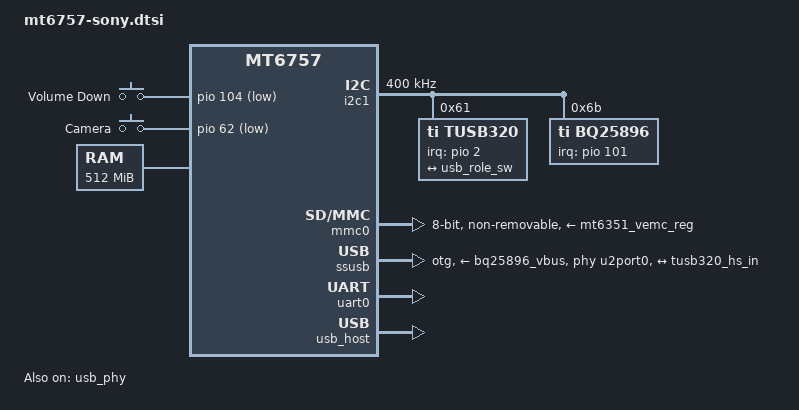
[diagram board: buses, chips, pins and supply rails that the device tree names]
// SPDX-License-Identifier: GPL-2.0-only
/*
 * Copyright (c) 2025 Ben Grisdale <bengris32@protonmail.ch>
 */

#include <dt-bindings/gpio/gpio.h>
#include "mt6757.dtsi"
#include "mt6351.dtsi"

/ {
	aliases {
		serial0 = &uart0;
	};

	chosen {
		stdout-path = "serial0:115200n8";
	};

	gpio-keys {
		compatible = "gpio-keys";
		pinctrl-names = "default";
		pinctrl-0 = <&gpio_keys_pins_default>;

		button-volume-down {
			label = "Volume Down";
			linux,code = <KEY_VOLUMEDOWN>;
			gpios = <&pio 104 GPIO_ACTIVE_LOW>;
			wakeup-source;
			debounce-interval = <100>;
		};

		button-camera {
			label = "Camera";
			linux,code = <KEY_CAMERA>;
			gpios = <&pio 62 GPIO_ACTIVE_LOW>;
			wakeup-source;
			debounce-interval = <100>;
		};
	};

	memory@40000000 {
		device_type = "memory";
		reg = <0 0x40000000 0 0x20000000>;
	};

	reserved_memory: reserved-memory {
		#address-cells = <2>;
		#size-cells = <2>;
		ranges;

		/* Reserve memory for ATF + its ramdump region */
		atf-reserved-memory@50e00000 {
			reg = <0 0x50e00000 0 0x14000>;
			no-map;
		};

		atf-ramdump-memory@50e14000 {
			reg = <0 0x50e14000 0 0x2c000>;
			no-map;
		};

		/* Use the same ramoops region as downstream */
		ramoops@44410000 {
			compatible = "ramoops";
			reg = <0x0 0x44410000 0x0 0xe0000>;
			console-size = <0x10000>;
			record-size = <0x10000>;
		};
	};
};

&i2c1 {
	status = "okay";
	pinctrl-names = "default";
	pinctrl-0 = <&i2c1_pins_default>;
	clock-frequency = <400000>;

	tusb320: typec@61 {
		compatible = "ti,tusb320";
		reg = <0x61>;
		interrupt-parent = <&pio>;
		interrupts = <2 IRQ_TYPE_LEVEL_LOW>;

		connector {
			compatible = "usb-c-connector";
			label = "USB-C";
			data-role = "dual";
			power-role = "dual";
			typec-power-opmode = "default";
			pd-disable;

			port {
				tusb320_hs_in: endpoint {
					remote-endpoint = <&usb_role_sw>;
				};
			};
		};
	};

	bq25896: charger@6b {
		compatible = "ti,bq25896";
		reg = <0x6b>;
		interrupt-parent = <&pio>;
		interrupts = <101 IRQ_TYPE_LEVEL_LOW>;
		ti,battery-regulation-voltage = <4352000>;
		ti,charge-current = <2048000>;
		ti,termination-current = <128000>;
		ti,precharge-current = <128000>;
		ti,minimum-sys-voltage = <3500000>;
		ti,boost-voltage = <4998000>;
		ti,boost-max-current = <1400000>;
		ti,use-ilim-pin;
		ti,thermal-regulation-threshold = <120>;

		bq25896_vbus: usb-otg-vbus { };
		bq25896_vsys: vsys { };
	};
};

&mmc0 {
	/* eMMC controller */
	bus-width = <8>;
	max-frequency = <200000000>;
	cap-mmc-highspeed;
	hs400-ds-delay = <0x14041>;
	mmc-hs200-1_8v;
	mmc-hs400-1_8v;
	no-sd;
	no-sdio;
	non-removable;
	pinctrl-names = "default", "state_uhs";
	pinctrl-0 = <&mmc0_pins_default>;
	pinctrl-1 = <&mmc0_pins_uhs>;
	vmmc-supply = <&mt6351_vemc_reg>;
	assigned-clocks = <&topckgen CLK_TOP_MSDC50_0_SEL>;
	assigned-clock-parents = <&topckgen CLK_TOP_MSDCPLL_D2>;
	status = "okay";
};

&mt6351_pmic {
	interrupts-extended = <&pio 150 IRQ_TYPE_LEVEL_HIGH>;
};

&ssusb {
	status = "okay";
	dr_mode = "otg";
	usb-role-switch;
	role-switch-default-mode = "host";
	maximum-speed = "high-speed";
	phys = <&u2port0 PHY_TYPE_USB2>;
	mediatek,u3p-dis-msk = <1>;
	vusb33-supply = <&mt6351_vusb33_reg>;
	vbus-supply = <&bq25896_vbus>;

	port {
		usb_role_sw: endpoint {
			remote-endpoint = <&tusb320_hs_in>;
		};
	};
};

&uart0 {
	pinctrl-names = "default";
	pinctrl-0 = <&uart0_pins_default>;
	status = "okay";
};

&usb_host {
	status = "okay";
	vusb33-supply = <&mt6351_vusb33_reg>;
};

&usb_phy {
	status = "okay";
};

&u2port0 {
	mediatek,eye-vrt = <3>;
	mediatek,eye-term = <1>;
	mediatek,eye-src = <1>;
	mediatek,pre-emphasis = <1>;
	mediatek,discth = <15>;
};

&pio {
	i2c1_pins_default: i2c1-pins {
		pins-bus {
			pinmux = <PINMUX_GPIO91__FUNC_SDA1>,
				 <PINMUX_GPIO94__FUNC_SCL1>;
			bias-disable;
		};
	};

	gpio_keys_pins_default: gpio-keys-pins {
		pins-keys {
			pinmux = <PINMUX_GPIO104__FUNC_KPCOL1>,
				     <PINMUX_GPIO62__FUNC_GPIO62>;
			input-enable;
		};
	};

	mmc0_pins_default: mmc0-pins-sdr {
		pins-dat {
			pinmux = <PINMUX_GPIO178__FUNC_MSDC0_DAT0>,
				 <PINMUX_GPIO181__FUNC_MSDC0_DAT1>,
				 <PINMUX_GPIO186__FUNC_MSDC0_DAT2>,
				 <PINMUX_GPIO187__FUNC_MSDC0_DAT3>,
				 <PINMUX_GPIO184__FUNC_MSDC0_DAT4>,
				 <PINMUX_GPIO182__FUNC_MSDC0_DAT5>,
				 <PINMUX_GPIO183__FUNC_MSDC0_DAT6>,
				 <PINMUX_GPIO188__FUNC_MSDC0_DAT7>,
				 <PINMUX_GPIO180__FUNC_MSDC0_CMD>;
			input-enable;
			bias-pull-up = <MTK_PUPD_SET_R1R0_01>;
		};

		pins-clk {
			pinmux = <PINMUX_GPIO179__FUNC_MSDC0_CLK>;
			bias-pull-down = <MTK_PUPD_SET_R1R0_10>;
		};

		pins-rst {
			pinmux = <PINMUX_GPIO185__FUNC_MSDC0_RSTB>;
			bias-pull-up = <MTK_PUPD_SET_R1R0_10>;
		};
	};

	mmc0_pins_uhs: mmc0-pins-uhs {
		pins-dat {
			pinmux = <PINMUX_GPIO178__FUNC_MSDC0_DAT0>,
				 <PINMUX_GPIO181__FUNC_MSDC0_DAT1>,
				 <PINMUX_GPIO186__FUNC_MSDC0_DAT2>,
				 <PINMUX_GPIO187__FUNC_MSDC0_DAT3>,
				 <PINMUX_GPIO184__FUNC_MSDC0_DAT4>,
				 <PINMUX_GPIO182__FUNC_MSDC0_DAT5>,
				 <PINMUX_GPIO183__FUNC_MSDC0_DAT6>,
				 <PINMUX_GPIO188__FUNC_MSDC0_DAT7>,
				 <PINMUX_GPIO180__FUNC_MSDC0_CMD>;
			input-enable;
			drive-strength = <8>;
			bias-pull-up = <MTK_PUPD_SET_R1R0_01>;
		};

		pins-clk {
			pinmux = <PINMUX_GPIO179__FUNC_MSDC0_CLK>;
			drive-strength = <8>;
			bias-pull-down = <MTK_PUPD_SET_R1R0_10>;
		};

		pins-rst {
			pinmux = <PINMUX_GPIO185__FUNC_MSDC0_RSTB>;
			drive-strength = <8>;
			bias-pull-up = <MTK_PUPD_SET_R1R0_10>;
		};

		pins-ds {
			pinmux = <PINMUX_GPIO189__FUNC_MSDC0_DSL>;
			drive-strength = <4>;
			bias-pull-down = <MTK_PUPD_SET_R1R0_10>;
		};
	};

	mmc1_pins_default: mmc1-pins-sdr {
		pins-dat {
			pinmux = <PINMUX_GPIO33__FUNC_MSDC1_DAT0>,
				 <PINMUX_GPIO35__FUNC_MSDC1_DAT1>,
				 <PINMUX_GPIO34__FUNC_MSDC1_DAT2>,
				 <PINMUX_GPIO31__FUNC_MSDC1_DAT3>,
				 <PINMUX_GPIO32__FUNC_MSDC1_CMD>;
			input-enable;
			bias-pull-up = <MTK_PUPD_SET_R1R0_01>;
		};

		pins-clk {
			pinmux = <PINMUX_GPIO30__FUNC_MSDC1_CLK>;
			bias-pull-down = <MTK_PUPD_SET_R1R0_10>;
		};

		pins-cd {
			pinmux = <PINMUX_GPIO3__FUNC_GPIO3>;
			input-enable;
		};
	};

	mmc1_pins_uhs: mmc1-pins-uhs {
		pins-dat {
			pinmux = <PINMUX_GPIO33__FUNC_MSDC1_DAT0>,
				 <PINMUX_GPIO35__FUNC_MSDC1_DAT1>,
				 <PINMUX_GPIO34__FUNC_MSDC1_DAT2>,
				 <PINMUX_GPIO31__FUNC_MSDC1_DAT3>,
				 <PINMUX_GPIO32__FUNC_MSDC1_CMD>;
			input-enable;
			drive-strength = <8>;
			bias-pull-up = <MTK_PUPD_SET_R1R0_01>;
		};

		pins-clk {
			pinmux = <PINMUX_GPIO30__FUNC_MSDC1_CLK>;
			drive-strength = <10>;
			bias-pull-down = <MTK_PUPD_SET_R1R0_10>;
		};

		pins-cd {
			pinmux = <PINMUX_GPIO3__FUNC_GPIO3>;
			input-enable;
		};
	};

	uart0_pins_default: uart0-pins {
		pins-rx {
			pinmux = <PINMUX_GPIO105__FUNC_URXD0>;
			input-enable;
			bias-pull-up;
		};
		pins-tx {
			pinmux = <PINMUX_GPIO106__FUNC_UTXD0>;
		};
	};
};
